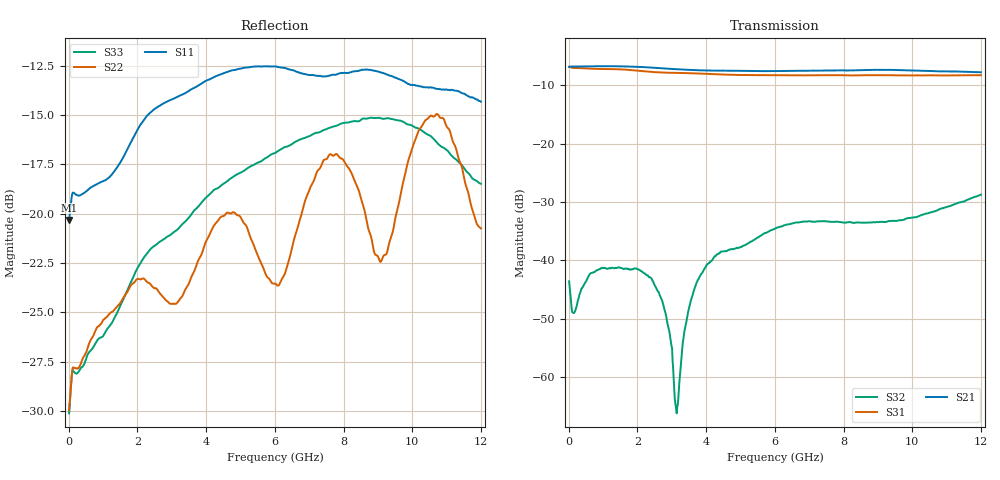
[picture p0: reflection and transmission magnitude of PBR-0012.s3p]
! MARKI MICROWAVE INC.
! Email:  info@markimicrowave.com  Phone:  408-778-4200
! Model Number:  PBR0012  Date:  09/15
! Filename:		PBR-0012.S3P  Version: 2.0
! Description:  3-port S-parameter data for Power Divider PBR0012
! Frequency Range: 	10 MHz to 12 GHz
! Port Configuration:	PORT 1: COMMON, PORT 2 and Port 3: Output
! S3P File: Measurements: Mag<S11> Ang<S11> Mag<S12> Ang<S12> Mag<S13> Ang<S13>! row 1
!  Mag<S21> Ang<S21> Mag<S22> Ang<S22> Mag<S23> Ang<S23>! row 2
!  Mag<S31> Ang<S31> Mag<S32> Ang<S32> Mag<S33> Ang<S33>! row 3
# Hz S  dB  R 50
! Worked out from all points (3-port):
!   801 points, 10 MHz to 12 GHz, reference 50 ohm
!   strongest paths, dB at 10 MHz, 3.007 GHz, 6.005 GHz, 9.002 GHz, 12 GHz:
!     S21: -6.9, -7.2, -7.6, -7.4, -7.8
!     S31: -6.9, -7.9, -8.3, -8.3, -8.3
!     S32: -43.6, -55.0, -34.6, -33.5, -28.8
!   lowest |S11| = -20.3 dB at 10 MHz (marker M1), VSWR 1.21, Z = 41.2 + j0.811 ohm
!   |S11| at or under -10 dB: start of sweep to end of sweep
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1e7  -20.31 174.2  -6.82 -2.5  -6.79 -1.5
     -6.87 -2.5  -29.95 172.6  -46.22 -151.8
     -6.87 -0.8  -43.58 -179.4  -30.11 170.9
1.044138e9  -18.32 142.2  -6.75 -102.1  -7.24 -60.4
            -6.76 -102.1  -25.33 46.3  -41.23 -66.5
            -7.25 -60.3  -41.31 -66.9  -26.06 149.5
2.422988e9  -14.81 80.2  -7.00 122.0  -7.74 -139.1
            -7.01 122.2  -23.68 -131.5  -43.29 119.0
            -7.75 -139.0  -43.27 118.6  -21.73 85.5
3.142388e9  -14.10 41.5  -7.26 52.2  -7.91 -178.3
            -7.28 52.6  -24.54 108.7  -67.37 -46.5
            -7.91 -178.2  -66.19 -42.7  -20.84 48.9
3.8468e9  -13.43 6.5  -7.45 -15.2  -8.02 142.7
          -7.47 -14.7  -22.13 5.0  -42.35 110.4
          -8.03 142.7  -42.39 108.6  -19.48 16.1
6.005e9  -12.55 -101.7  -7.59 138.2  -8.31 24.8
         -7.60 138.9  -23.55 65.8  -34.58 -128.2
         -8.31 24.9  -34.59 -129.1  -16.93 -86.3
7.458788e9  -13.05 -166.5  -7.52 -2.0  -8.32 -54.9
            -7.51 -1.0  -17.26 -147.0  -33.27 76.1
            -8.31 -54.8  -33.32 75.4  -15.74 -154.1
8.477938e9  -12.74 148.2  -7.45 -100.6  -8.33 -111.3
            -7.44 -99.6  -19.02 92.0  -33.46 -23.5
            -8.32 -111.1  -33.52 -23.8  -15.29 158.1
9.646962e9  -13.22 92.2  -7.43 144.9  -8.32 -176.0
            -7.43 146.2  -19.16 -121.5  -33.05 -128.3
            -8.33 -175.8  -33.13 -128.8  -15.29 103.7
1.2e10  -14.33 -34.6  -7.82 -82.4  -8.30 54.7
        -7.79 -80.8  -20.74 -84.3  -28.77 18.7
        -8.30 54.6  -28.76 17.0  -18.49 -7.5
